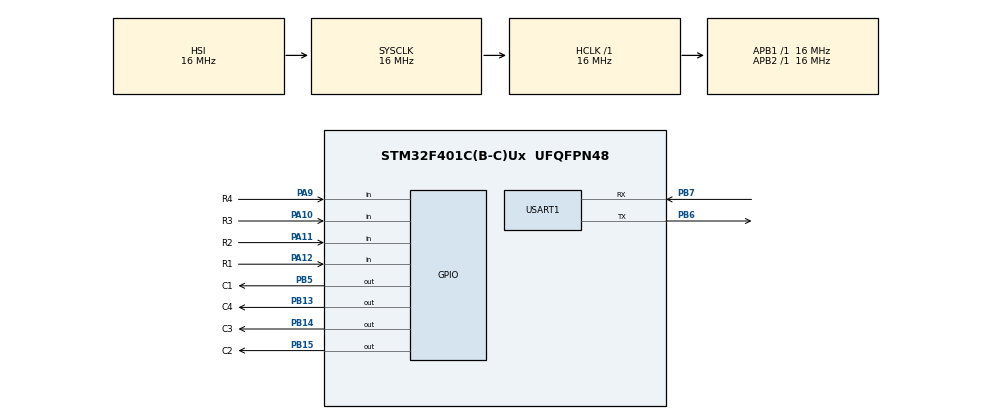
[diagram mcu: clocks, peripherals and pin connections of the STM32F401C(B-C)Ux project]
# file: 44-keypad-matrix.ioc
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Mcu.Family=STM32F4
Mcu.Name=STM32F401C(B-C)Ux
Mcu.Package=UFQFPN48
NVIC.PriorityGroup=NVIC_PRIORITYGROUP_4
PA10.GPIO_Label=R3
PA10.GPIO_PuPd=GPIO_PULLUP
PA10.Signal=GPIO_Input
PA11.GPIO_Label=R2
PA11.GPIO_PuPd=GPIO_PULLUP
PA11.Signal=GPIO_Input
PA12.GPIO_Label=R1
PA12.GPIO_PuPd=GPIO_PULLUP
PA12.Signal=GPIO_Input
PA13.Mode=Serial_Wire
PA13.Signal=SYS_JTMS-SWDIO
PA14.Mode=Serial_Wire
PA14.Signal=SYS_JTCK-SWCLK
PA9.GPIO_Label=R4
PA9.GPIO_PuPd=GPIO_PULLUP
PA9.Signal=GPIO_Input
PB13.GPIO_Label=C4
PB13.GPIO_PuPd=GPIO_PULLUP
PB13.Signal=GPIO_Output
PB14.GPIO_Label=C3
PB14.GPIO_PuPd=GPIO_PULLUP
PB14.Signal=GPIO_Output
PB15.GPIO_Label=C2
PB15.GPIO_PuPd=GPIO_PULLUP
PB15.Signal=GPIO_Output
PB5.GPIO_Label=C1
PB5.GPIO_PuPd=GPIO_PULLUP
PB5.Signal=GPIO_Output
PB6.Mode=Asynchronous
PB6.Signal=USART1_TX
PB7.Mode=Asynchronous
PB7.Signal=USART1_RX
PC14-OSC32_IN.Mode=LSE-External-Oscillator
PC14-OSC32_IN.Signal=RCC_OSC32_IN
PC15-OSC32_OUT.Mode=LSE-External-Oscillator
PC15-OSC32_OUT.Signal=RCC_OSC32_OUT
PH0\ -\ OSC_IN.Mode=HSE-External-Oscillator
PH0\ -\ OSC_IN.Signal=RCC_OSC_IN
PH1\ -\ OSC_OUT.Mode=HSE-External-Oscillator
PH1\ -\ OSC_OUT.Signal=RCC_OSC_OUT
ProjectManager.HeapSize=0x200
ProjectManager.StackSize=0x400
ProjectManager.TargetToolchain=STM32CubeIDE
RCC.AHBFreq_Value=16000000
RCC.APB1Freq_Value=16000000
RCC.APB2Freq_Value=16000000
RCC.CortexFreq_Value=16000000
RCC.HSE_VALUE=25000000
RCC.HSI_VALUE=16000000
RCC.SYSCLKFreq_VALUE=16000000
RCC.VCOOutputFreq_Value=192000000
USART1.VirtualMode=VM_ASYNC
board=custom

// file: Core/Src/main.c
/* USER CODE BEGIN Header */
/**
  ******************************************************************************
  * @file           : main.c
  * @brief          : Main program body
  ******************************************************************************
  * @attention
  *
  * Copyright (c) 2026 STMicroelectronics.
  * All rights reserved.
  *
  * This software is licensed under terms that can be found in the LICENSE file
  * in the root directory of this software component.
  * If no LICENSE file comes with this software, it is provided AS-IS.
  *
  ******************************************************************************
  */
/* USER CODE END Header */
#include "main.h"

/* USER CODE BEGIN Includes */
#include "stdio.h"
#include "string.h"
#include "stdint.h"

/* USER CODE END Includes */

UART_HandleTypeDef huart1;

/* USER CODE BEGIN PV */
#define NUM_ROWS (4)
#define NUM_COLS (4)

/* USER CODE END PV */

void SystemClock_Config(void);
static void MX_GPIO_Init(void);
static void MX_USART1_UART_Init(void);

/* USER CODE BEGIN 0 */

char key_map_arr[NUM_ROWS][NUM_COLS] = {
		{'1', '2', '3', 'A'},
		{'4', '5', '6', 'B'},
		{'7', '8', '9', 'C'},
		{'*', '0', '#', 'D'}
};

/* USER CODE END 0 */

int main(void)
{

  /* MCU Configuration--------------------------------------------------------*/

  /* Reset of all peripherals, Initializes the Flash interface and the Systick. */
  HAL_Init();

  /* Configure the system clock */
  SystemClock_Config();

  /* Initialize all configured peripherals */
  MX_GPIO_Init();
  MX_USART1_UART_Init();
  /* USER CODE BEGIN 2 */

  // array of column pins
  uint16_t col_pins[NUM_COLS] = {C1_Pin, C2_Pin, C3_Pin, C4_Pin};

  // array of row pins
  uint16_t row_pins[NUM_ROWS] = {R1_Pin, R2_Pin, R3_Pin, R4_Pin};
  char uart_buffer[32];

  /* USER CODE END 2 */

  /* Infinite loop */
  while (1)
  {

    /* USER CODE BEGIN 3 */

	  for(int i =0; i< NUM_COLS; i++ ) {

		  HAL_GPIO_WritePin(GPIOB, col_pins[i], GPIO_PIN_RESET); // write column low

		  for(int j = 0; j < NUM_ROWS; j++)	 {
			  int s = HAL_GPIO_ReadPin(GPIOA, row_pins[j]); // sample all the rows in that column

			  if(s == 0) {
				  // debounce
				  HAL_Delay(70);

				  s = HAL_GPIO_ReadPin(GPIOA, row_pins[j]);

				  if(s == 0) { // re-sample
					  char c = key_map_arr[j][i];

					  sprintf(uart_buffer, "Pressed: %c \r\n", c);

					  HAL_UART_Transmit(&huart1, (uint8_t*)uart_buffer, strlen(uart_buffer), 100);
				  }

			  }
		  } // end row scan

		  // release the column to high
		  HAL_GPIO_WritePin(GPIOA, col_pins[i], GPIO_PIN_SET);

	  } // end column scan

  }
  /* USER CODE END 3 */
}

void SystemClock_Config(void)
{
  RCC_OscInitTypeDef RCC_OscInitStruct = {0};
  RCC_ClkInitTypeDef RCC_ClkInitStruct = {0};

  /** Configure the main internal regulator output voltage
  */
  __HAL_RCC_PWR_CLK_ENABLE();
  __HAL_PWR_VOLTAGESCALING_CONFIG(PWR_REGULATOR_VOLTAGE_SCALE2);

  /** Initializes the RCC Oscillators according to the specified parameters
  * in the RCC_OscInitTypeDef structure.
  */
  RCC_OscInitStruct.OscillatorType = RCC_OSCILLATORTYPE_HSI;
  RCC_OscInitStruct.HSIState = RCC_HSI_ON;
  RCC_OscInitStruct.HSICalibrationValue = RCC_HSICALIBRATION_DEFAULT;
  RCC_OscInitStruct.PLL.PLLState = RCC_PLL_NONE;
  if (HAL_RCC_OscConfig(&RCC_OscInitStruct) != HAL_OK)
  {
    Error_Handler();
  }

  /** Initializes the CPU, AHB and APB buses clocks
  */
  RCC_ClkInitStruct.ClockType = RCC_CLOCKTYPE_HCLK|RCC_CLOCKTYPE_SYSCLK
                              |RCC_CLOCKTYPE_PCLK1|RCC_CLOCKTYPE_PCLK2;
  RCC_ClkInitStruct.SYSCLKSource = RCC_SYSCLKSOURCE_HSI;
  RCC_ClkInitStruct.AHBCLKDivider = RCC_SYSCLK_DIV1;
  RCC_ClkInitStruct.APB1CLKDivider = RCC_HCLK_DIV1;
  RCC_ClkInitStruct.APB2CLKDivider = RCC_HCLK_DIV1;

  if (HAL_RCC_ClockConfig(&RCC_ClkInitStruct, FLASH_LATENCY_0) != HAL_OK)
  {
    Error_Handler();
  }
}

static void MX_USART1_UART_Init(void)
{

  huart1.Instance = USART1;
  huart1.Init.BaudRate = 115200;
  huart1.Init.WordLength = UART_WORDLENGTH_8B;
  huart1.Init.StopBits = UART_STOPBITS_1;
  huart1.Init.Parity = UART_PARITY_NONE;
  huart1.Init.Mode = UART_MODE_TX_RX;
  huart1.Init.HwFlowCtl = UART_HWCONTROL_NONE;
  huart1.Init.OverSampling = UART_OVERSAMPLING_16;
  if (HAL_UART_Init(&huart1) != HAL_OK)
  {
    Error_Handler();
  }

}

static void MX_GPIO_Init(void)
{
  GPIO_InitTypeDef GPIO_InitStruct = {0};

  /* GPIO Ports Clock Enable */
  __HAL_RCC_GPIOC_CLK_ENABLE();
  __HAL_RCC_GPIOH_CLK_ENABLE();
  __HAL_RCC_GPIOB_CLK_ENABLE();
  __HAL_RCC_GPIOA_CLK_ENABLE();

  /*Configure GPIO pin Output Level */
  HAL_GPIO_WritePin(GPIOB, C4_Pin|C3_Pin|C2_Pin|C1_Pin, GPIO_PIN_RESET);

  /*Configure GPIO pins : C4_Pin C3_Pin C2_Pin C1_Pin */
  GPIO_InitStruct.Pin = C4_Pin|C3_Pin|C2_Pin|C1_Pin;
  GPIO_InitStruct.Mode = GPIO_MODE_OUTPUT_PP;
  GPIO_InitStruct.Pull = GPIO_PULLUP;
  GPIO_InitStruct.Speed = GPIO_SPEED_FREQ_LOW;
  HAL_GPIO_Init(GPIOB, &GPIO_InitStruct);

  /*Configure GPIO pins : R4_Pin R3_Pin R2_Pin R1_Pin */
  GPIO_InitStruct.Pin = R4_Pin|R3_Pin|R2_Pin|R1_Pin;
  GPIO_InitStruct.Mode = GPIO_MODE_INPUT;
  GPIO_InitStruct.Pull = GPIO_PULLUP;
  HAL_GPIO_Init(GPIOA, &GPIO_InitStruct);

}

void Error_Handler(void)
{
  __disable_irq();
  while (1)
  {
  }
}
